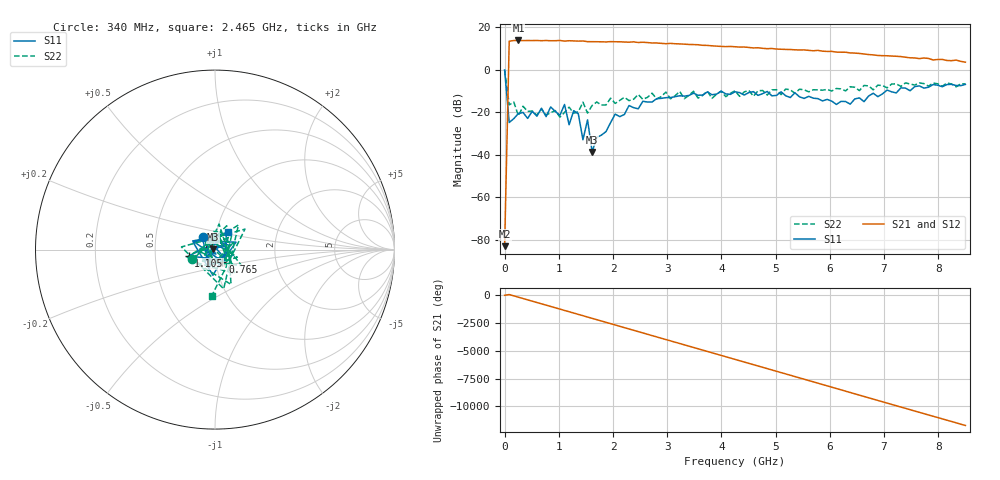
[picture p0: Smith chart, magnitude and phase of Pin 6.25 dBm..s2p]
! RsaToolbox (C) 2013 Rohde & Schwarz America
! Number of points: 101
! Number of ports: 2
! Balanced ports?: 0
# Hz S RI R 50
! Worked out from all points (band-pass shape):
!   101 points, 9 kHz to 8.5 GHz, reference 50 ohm
!   highest |S21| = 13.75 dB at 255 MHz (marker M1); lowest = -83.0 dB at 9 kHz (marker M2)
!   |S21| within 3 dB of the highest: 82.67 MHz to 4.27 GHz (4.187 GHz wide, 192 % of centre)
!   lowest |S11| = -38.7 dB at 1.615 GHz (marker M3), VSWR 1.02, Z = 48.8 + j0.0557 ohm
!   |S11| at or under -10 dB: 33.97 MHz to 7.036 GHz (7.002 GHz wide, 198 % of centre); 7.097 GHz to 7.258 GHz (161.2 MHz wide, 2.25 % of centre)
!   |S22| runs from -22.3 to 0.0 dB; largest |S21 - S12| = 0
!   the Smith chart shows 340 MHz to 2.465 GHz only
!   S11 on the Smith chart (normalised r, x): 340 MHz: 0.86, +0.12; 765 MHz: 1.08, -0.14; 1.105 GHz: 0.74, -0.05; 2.465 GHz: 1.13, +0.22
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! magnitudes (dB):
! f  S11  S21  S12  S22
! 9 kHz  -0.1  -83.0  -83.0  0.0
! 85.01 MHz  -24.8  13.4  13.4  -16.5
! 170 MHz  -23.0  13.7  13.7  -15.2
! 255 MHz  -20.6  13.8  13.8  -21.7
! 340 MHz  -20.1  13.7  13.7  -17.2
! 765 MHz  -22.1  13.7  13.7  -21.3
! 1.02 GHz  -21.4  13.7  13.7  -22.3
! 1.105 GHz  -16.4  13.4  13.4  -20.1
! 1.19 GHz  -25.9  13.6  13.6  -17.6
! 1.275 GHz  -19.3  13.5  13.5  -20.5
! 1.36 GHz  -20.8  13.4  13.4  -19.8
! 1.445 GHz  -33.0  13.5  13.5  -15.3
! 1.53 GHz  -23.6  13.2  13.2  -20.4
! 1.615 GHz  -38.7  13.2  13.2  -16.8
! 2.04 GHz  -20.9  13.1  13.1  -15.9
! 2.465 GHz  -18.4  12.8  12.8  -11.7
! 2.89 GHz  -13.5  12.4  12.4  -12.6
! 4.25 GHz  -10.4  10.8  10.8  -9.9
! 5.695 GHz  -13.4  8.9  8.9  -9.5
! 6.375 GHz  -16.2  7.9  7.9  -8.0
! 7.14 GHz  -10.4  6.4  6.4  -6.8
! 8.5 GHz  -6.9  3.5  3.5  -6.7
